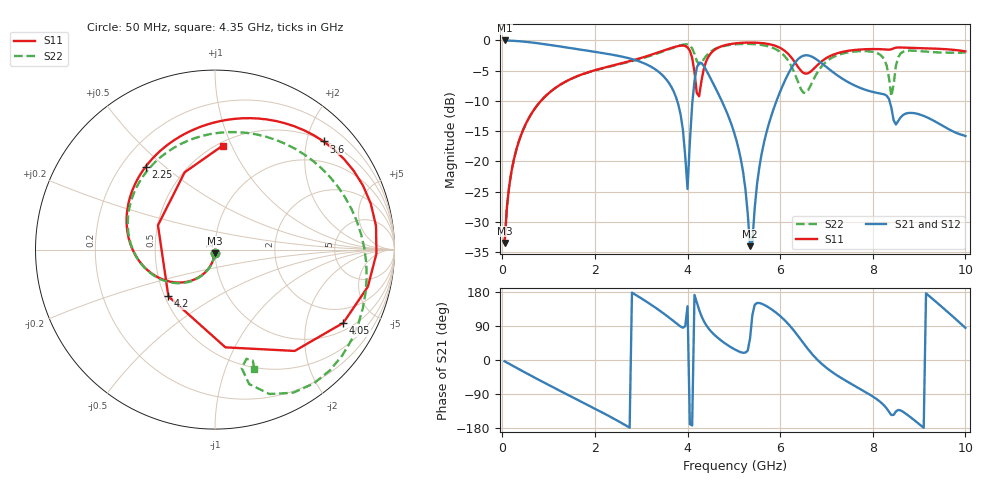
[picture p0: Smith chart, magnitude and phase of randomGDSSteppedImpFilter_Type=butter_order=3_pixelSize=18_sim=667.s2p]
! freq	dB(S11)	phase(S11)	dB(S12)	phase(S12)
!  dB(S21)	phase(S21)	dB(S22)	phase(S22)
!S-par simulation data
#  GHz  S  DB  R 50
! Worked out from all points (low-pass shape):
!   200 points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, 50 MHz to 10 GHz, reference 50 ohm
!   highest |S21| = -0.01 dB at 50 MHz (marker M1); lowest = -34.0 dB at 5.35 GHz (marker M2)
!   |S21| within 3 dB of the highest: start of sweep to 2.764 GHz; 6.399 GHz to 6.759 GHz (360.5 MHz wide, 5.48 % of centre)
!   lowest |S11| = -33.5 dB at 50 MHz (marker M3), VSWR 1.04, Z = 49.8 - j2.11 ohm
!   |S11| at or under -10 dB: start of sweep to 833.6 MHz
!   |S22| runs from -33.5 to -0.6 dB; largest |S21 - S12| = 0
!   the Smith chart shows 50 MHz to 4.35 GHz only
!   S11 on the Smith chart (normalised r, x): 50 MHz: 1.00, -0.04; 2.25 GHz: 0.30, +0.43; 3.6 GHz: 0.52, +2.32; 4.05 GHz: 1.30, -3.30; 4.2 GHz: 0.52, -0.31; 4.35 GHz: 0.53, +0.92
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0.05  -33.48 -93.5  -0.01 -3.4  -0.01 -3.4  -33.48 -93.4
0.5  -13.92 -124.4  -0.23 -33.5  -0.23 -33.5  -13.92 -123.6
1.75  -5.53 158.1  -1.60 -112.6  -1.60 -112.6  -5.55 155.3
2.25  -4.41 130.0  -2.20 -144.4  -2.20 -144.4  -4.46 119.9
3.4  -1.89 61.2  -5.34 130.2  -5.34 130.2  -2.01 16.6
3.6  -1.37 44.9  -7.05 112.1  -7.05 112.1  -1.46 -4.8
4  -1.15 -13.6  -24.55 142.0  -24.55 142.0  -0.66 -53.6
4.05  -1.69 -29.7  -16.81 -169.1  -16.81 -169.1  -0.83 -61.4
4.2  -8.69 -134.9  -4.50 152.0  -4.50 152.0  -3.39 -77.3
4.35  -4.73 85.9  -4.21 103.0  -4.21 103.0  -3.12 -71.7
4.6  -1.48 32.6  -7.81 64.1  -7.81 64.1  -1.38 -91.1
5.05  -0.47 -9.0  -16.35 25.9  -16.35 25.9  -0.64 -129.6
5.35  -0.35 -29.9  -33.99 57.0  -33.99 57.0  -0.59 -154.7
6.15  -2.06 -81.6  -5.90 98.4  -5.90 98.4  -3.10 110.9
6.45  -5.01 -87.9  -2.71 53.0  -2.71 53.0  -8.05 20.8
6.7  -4.87 -76.9  -2.74 14.2  -2.74 14.2  -6.77 -84.3
7.4  -1.81 -99.6  -6.59 -53.4  -6.59 -53.4  -2.08 168.2
8.05  -1.42 -126.3  -8.60 -100.4  -8.60 -100.4  -1.98 104.5
8.35  -1.53 -136.9  -9.68 -136.6  -9.68 -136.6  -6.19 63.8
8.65  -1.18 -149.6  -12.35 -136.3  -12.35 -136.3  -1.89 66.3
9.15  -1.31 -172.4  -12.63 176.0  -12.63 176.0  -1.85 -11.4
10  -1.81 132.3  -15.80 84.9  -15.80 84.9  -2.01 -122.1
